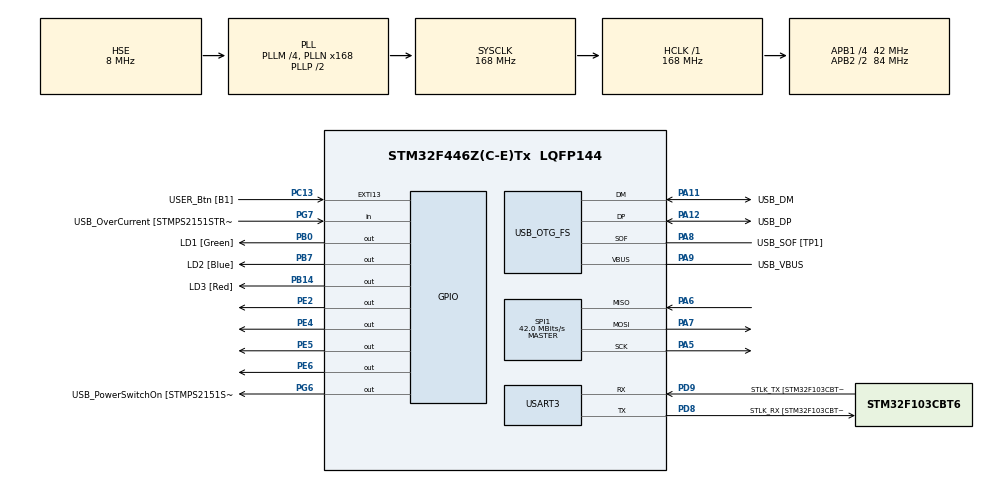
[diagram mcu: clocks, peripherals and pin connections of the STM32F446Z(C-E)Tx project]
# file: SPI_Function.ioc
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Dma.Request0=SPI1_RX
Dma.Request1=SPI1_TX
Dma.SPI1_RX.0.Direction=DMA_PERIPH_TO_MEMORY
Dma.SPI1_RX.0.FIFOMode=DMA_FIFOMODE_DISABLE
Dma.SPI1_RX.0.Instance=DMA2_Stream0
Dma.SPI1_RX.0.MemDataAlignment=DMA_MDATAALIGN_BYTE
Dma.SPI1_RX.0.MemInc=DMA_MINC_ENABLE
Dma.SPI1_RX.0.Mode=DMA_NORMAL
Dma.SPI1_RX.0.PeriphDataAlignment=DMA_PDATAALIGN_BYTE
Dma.SPI1_RX.0.PeriphInc=DMA_PINC_DISABLE
Dma.SPI1_RX.0.Priority=DMA_PRIORITY_LOW
Dma.SPI1_TX.1.Direction=DMA_MEMORY_TO_PERIPH
Dma.SPI1_TX.1.FIFOMode=DMA_FIFOMODE_DISABLE
Dma.SPI1_TX.1.Instance=DMA2_Stream3
Dma.SPI1_TX.1.MemDataAlignment=DMA_MDATAALIGN_BYTE
Dma.SPI1_TX.1.MemInc=DMA_MINC_ENABLE
Dma.SPI1_TX.1.Mode=DMA_NORMAL
Dma.SPI1_TX.1.PeriphDataAlignment=DMA_PDATAALIGN_BYTE
Dma.SPI1_TX.1.PeriphInc=DMA_PINC_DISABLE
Dma.SPI1_TX.1.Priority=DMA_PRIORITY_LOW
Mcu.Family=STM32F4
Mcu.Name=STM32F446Z(C-E)Tx
Mcu.Package=LQFP144
NVIC.DMA2_Stream0_IRQn=true\:0\:0\:false\:false\:true\:false\:true\:true
NVIC.DMA2_Stream3_IRQn=true\:0\:0\:false\:false\:true\:false\:true\:true
NVIC.PriorityGroup=NVIC_PRIORITYGROUP_4
PA10.GPIO_Label=USB_ID
PA10.Signal=USB_OTG_FS_ID
PA11.GPIO_Label=USB_DM
PA11.Mode=Device_Only
PA11.Signal=USB_OTG_FS_DM
PA12.GPIO_Label=USB_DP
PA12.Mode=Device_Only
PA12.Signal=USB_OTG_FS_DP
PA13.GPIO_Label=TMS
PA13.Mode=Serial_Wire
PA13.Signal=SYS_JTMS-SWDIO
PA14.GPIO_Label=TCK
PA14.Mode=Serial_Wire
PA14.Signal=SYS_JTCK-SWCLK
PA5.Mode=Full_Duplex_Master
PA5.Signal=SPI1_SCK
PA6.Mode=Full_Duplex_Master
PA6.Signal=SPI1_MISO
PA7.Mode=Full_Duplex_Master
PA7.Signal=SPI1_MOSI
PA8.GPIO_Label=USB_SOF [TP1]
PA8.Mode=Activate_SOF_FS
PA8.Signal=USB_OTG_FS_SOF
PA9.GPIO_Label=USB_VBUS
PA9.Mode=Activate_VBUS
PA9.Signal=USB_OTG_FS_VBUS
PB0.GPIO_Label=LD1 [Green]
PB0.Signal=GPIO_Output
PB14.GPIO_Label=LD3 [Red]
PB14.Signal=GPIO_Output
PB7.GPIO_Label=LD2 [Blue]
PB7.Signal=GPIO_Output
PC13.GPIO_Label=USER_Btn [B1]
PC13.Signal=GPXTI13
PC14-OSC32_IN.Mode=LSE-External-Oscillator
PC14-OSC32_IN.Signal=RCC_OSC32_IN
PC15-OSC32_OUT.Mode=LSE-External-Oscillator
PC15-OSC32_OUT.Signal=RCC_OSC32_OUT
PD8.GPIO_Label=STLK_RX [STM32F103CBT6_PA3]
PD8.Mode=Asynchronous
PD8.Signal=USART3_TX
PD9.GPIO_Label=STLK_TX [STM32F103CBT6_PA2]
PD9.Mode=Asynchronous
PD9.Signal=USART3_RX
PE2.Signal=GPIO_Output
PE4.Signal=GPIO_Output
PE5.Signal=GPIO_Output
PE6.Signal=GPIO_Output
PG6.GPIO_Label=USB_PowerSwitchOn [STMPS2151STR_EN]
PG6.Signal=GPIO_Output
PG7.GPIO_Label=USB_OverCurrent [STMPS2151STR_FAULT]
PG7.Signal=GPIO_Input
PH0-OSC_IN.GPIO_Label=MCO [STM32F103CBT6_PA8]
PH0-OSC_IN.Mode=HSE-External-Clock-Source
PH0-OSC_IN.Signal=RCC_OSC_IN
PH1-OSC_OUT.Mode=HSE-External-Clock-Source
PH1-OSC_OUT.Signal=RCC_OSC_OUT
ProjectManager.HeapSize=0x200
ProjectManager.StackSize=0x400
ProjectManager.TargetToolchain=STM32CubeIDE
RCC.48MHZClocksFreq_Value=24000000
RCC.AHBFreq_Value=168000000
RCC.APB1CLKDivider=RCC_HCLK_DIV4
RCC.APB1Freq_Value=42000000
RCC.APB1TimFreq_Value=84000000
RCC.APB2CLKDivider=RCC_HCLK_DIV2
RCC.APB2Freq_Value=84000000
RCC.APB2TimFreq_Value=168000000
RCC.CortexFreq_Value=168000000
RCC.HCLKFreq_Value=168000000
RCC.HSE_VALUE=8000000
RCC.HSI_VALUE=16000000
RCC.PLLM=4
RCC.PLLMUL=RCC_PLL_MUL9
RCC.PLLN=168
RCC.PLLQ=7
RCC.PRESCALERUSB=RCC_USBCLKSOURCE_PLL_DIV1_5
RCC.SYSCLKFreq_VALUE=168000000
RCC.SYSCLKSource=RCC_SYSCLKSOURCE_PLLCLK
RCC.SYSCLKSourceVirtual=RCC_SYSCLKSOURCE_PLLCLK
RCC.USBFreq_Value=48000000
RCC.VCOOutputFreq_Value=336000000
SPI1.CalculateBaudRate=42.0 MBits/s
SPI1.Direction=SPI_DIRECTION_2LINES
SPI1.Mode=SPI_MODE_MASTER
SPI1.VirtualType=VM_MASTER
USART3.VirtualMode=VM_ASYNC
USB_OTG_FS.VirtualMode=Device_Only
board=NUCLEO-F446ZE

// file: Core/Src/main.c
/* USER CODE BEGIN Header */
/**
  ******************************************************************************
  * @file           : main.c
  * @brief          : Main program body
  ******************************************************************************
  * @attention
  *
  * Copyright (c) 2026 STMicroelectronics.
  * All rights reserved.
  *
  * This software is licensed under terms that can be found in the LICENSE file
  * in the root directory of this software component.
  * If no LICENSE file comes with this software, it is provided AS-IS.
  *
  ******************************************************************************
  */
/* USER CODE END Header */
#include "main.h"

/* USER CODE BEGIN Includes */
#include <string.h>
#include <stdio.h>
#include <stdarg.h>
/* USER CODE END Includes */

/* USER CODE BEGIN PTD */
typedef struct {
    float position;
    float speed;
} MotorCmd;

typedef enum {
    DEV1 = 1,   // PE2
    DEV2 = 2,   // PE4
    DEV3 = 3,   // PE5
    DEV4 = 4    // PE6
} SpiDevId;
/* USER CODE END PTD */

/* USER CODE BEGIN PD */
#define NUM_SLAVES            4
#define BYTES_PER_MOTOR       4
#define MAX_TOTAL_MOTORS      16
#define MAX_TXRX_BYTES        (MAX_TOTAL_MOTORS * BYTES_PER_MOTOR)

// --- Constants (DO NOT CHANGE) ---
#define P_MIN   -12.57f
#define P_MAX    12.57f
#define V_MIN   -20.0f
#define V_MAX    20.0f
#define KP_MIN    0.0f
#define KP_MAX 5000.0f
#define KD_MIN    0.0f
#define KD_MAX  100.0f
#define T_MIN   -60.0f
#define T_MAX    60.0f

/* USER CODE END PD */

SPI_HandleTypeDef hspi1;
DMA_HandleTypeDef hdma_spi1_rx;
DMA_HandleTypeDef hdma_spi1_tx;

UART_HandleTypeDef huart3;

PCD_HandleTypeDef hpcd_USB_OTG_FS;

/* USER CODE BEGIN PV */
/* Configure how many motors belong to each slave.
   Example:
   {1,1,1,1} => DEV1 gets motor0, DEV2 gets motor1, DEV3 gets motor2, DEV4 gets motor3
   {2,1,0,1} => DEV1 gets motor0-1, DEV2 gets motor2, DEV3 gets none, DEV4 gets motor3
*/
static const uint8_t motors_per_slave[NUM_SLAVES] = {1, 1, 1, 1};

static MotorCmd g_motor_cmd[MAX_TOTAL_MOTORS] = {
    {0.0f, 1.0f},
    {0.0f, 0.0f},
    {0.0f, 3.0f},
    {0.0f, 4.0f}
};
/* USER CODE END PV */

void SystemClock_Config(void);
static void MX_GPIO_Init(void);
static void MX_DMA_Init(void);
static void MX_USART3_UART_Init(void);
static void MX_USB_OTG_FS_PCD_Init(void);
static void MX_SPI1_Init(void);
/* USER CODE BEGIN PFP */
static void uart_printf(const char *fmt, ...);
static void uart_dump_bytes(const char *tag, const uint8_t *buf, int n);
static inline void CS_ALL_HIGH(void);
static inline void CS_SELECT(SpiDevId dev);
static uint16_t get_total_configured_motors(void);
static void pack_one_motor(uint8_t *out, const MotorCmd *cmd);
static uint16_t build_slave_buf(uint8_t slave_index, uint8_t *tx_buf, const MotorCmd *all_motor_cmd);
static HAL_StatusTypeDef spi_send_to_one_slave(SpiDevId dev, uint8_t slave_index, const MotorCmd *all_motor_cmd);
static HAL_StatusTypeDef spi_update_all_slaves_param(const MotorCmd *all_motor_cmd);
static void uart_print_one_motor_rx(uint16_t motor_index, const uint8_t *rx);
/* USER CODE END PFP */

/* USER CODE BEGIN 0 */

static int float_to_uint(float x, float x_min, float x_max, unsigned int bits)
{
    float span = x_max - x_min;
    if (x < x_min) x = x_min;
    else if (x > x_max) x = x_max;
    return (int)((x - x_min) * ((float)((1U << bits) - 1U) / span));
}

static float uint_to_float(int x_int, float x_min, float x_max, int bits)
{
    float span = x_max - x_min;
    float offset = x_min;
    return ((float)x_int) * span / ((float)((1U << bits) - 1U)) + offset;
}

static void uart_printf(const char *fmt, ...)
{
    char buf[128];
    va_list ap;
    va_start(ap, fmt);
    int n = vsnprintf(buf, sizeof(buf), fmt, ap);
    va_end(ap);

    if (n < 0) return;
    if (n >= (int)sizeof(buf)) n = sizeof(buf) - 1;

    HAL_UART_Transmit(&huart3, (uint8_t*)buf, (uint16_t)strlen(buf), 100);
}

static void uart_dump_bytes(const char *tag, const uint8_t *buf, int n)
{
    uart_printf("%s", tag);
    for (int i = 0; i < n; i++) {
        uart_printf(" %02X", buf[i]);
    }
    uart_printf("\r\n");
}

static inline void CS_ALL_HIGH(void)
{
    HAL_GPIO_WritePin(GPIOE, GPIO_PIN_2 | GPIO_PIN_4 | GPIO_PIN_5 | GPIO_PIN_6, GPIO_PIN_SET);
}

static inline void CS_SELECT(SpiDevId dev)
{
    CS_ALL_HIGH();
    switch (dev) {
        case DEV1: HAL_GPIO_WritePin(GPIOE, GPIO_PIN_2, GPIO_PIN_RESET); break;
        case DEV2: HAL_GPIO_WritePin(GPIOE, GPIO_PIN_4, GPIO_PIN_RESET); break;
        case DEV3: HAL_GPIO_WritePin(GPIOE, GPIO_PIN_5, GPIO_PIN_RESET); break;
        case DEV4: HAL_GPIO_WritePin(GPIOE, GPIO_PIN_6, GPIO_PIN_RESET); break;
        default: break;
    }
}

static uint16_t get_total_configured_motors(void)
{
    uint16_t total = 0;
    for (int i = 0; i < NUM_SLAVES; i++) {
        total += motors_per_slave[i];
    }
    return total;
}

static void pack_one_motor(uint8_t *out, const MotorCmd *cmd)
{
    uint16_t pos_u16 = (uint16_t)float_to_uint(cmd->position, P_MIN, P_MAX, 16);
    uint16_t spd_u16 = (uint16_t)float_to_uint(cmd->speed, V_MIN, V_MAX, 16);

    out[0] = (uint8_t)(pos_u16 & 0xFF);        // POS LSB
    out[1] = (uint8_t)((pos_u16 >> 8) & 0xFF); // POS MSB
    out[2] = (uint8_t)(spd_u16 & 0xFF);        // SPD LSB
    out[3] = (uint8_t)((spd_u16 >> 8) & 0xFF); // SPD MSB
}

static void uart_print_one_motor_encoding(uint16_t motor_index, const MotorCmd *cmd)
{
    uint16_t pos_u16 = (uint16_t)float_to_uint(cmd->position, P_MIN, P_MAX, 16);
    uint16_t spd_u16 = (uint16_t)float_to_uint(cmd->speed,    V_MIN, V_MAX, 16);

    uart_printf("[MOTOR %d] float: pos=%.3f spd=%.3f\r\n",
                (int)motor_index,
                cmd->position,
                cmd->speed);

    uart_printf("[MOTOR %d] uint16: pos=%u (0x%04X) spd=%u (0x%04X)\r\n",
                (int)motor_index,
                pos_u16, pos_u16,
                spd_u16, spd_u16);

    uart_printf("[MOTOR %d] bytes: %02X %02X %02X %02X\r\n",
                (int)motor_index,
                (uint8_t)(pos_u16 & 0xFF),
                (uint8_t)((pos_u16 >> 8) & 0xFF),
                (uint8_t)(spd_u16 & 0xFF),
                (uint8_t)((spd_u16 >> 8) & 0xFF));
}

static void uart_print_one_motor_rx(uint16_t motor_index, const uint8_t *rx)
{
    uint16_t pos_u16 = (uint16_t)rx[0] | ((uint16_t)rx[1] << 8);
    uint16_t spd_u16 = (uint16_t)rx[2] | ((uint16_t)rx[3] << 8);

    float pos_f = uint_to_float((int)pos_u16, P_MIN, P_MAX, 16);
    float spd_f = uint_to_float((int)spd_u16, V_MIN, V_MAX, 16);

    uart_printf("[RX MOTOR %d] bytes : %02X %02X %02X %02X\r\n",
                (int)motor_index,
                rx[0], rx[1], rx[2], rx[3]);

    uart_printf("[RX MOTOR %d] uint16: pos=%u (0x%04X) spd=%u (0x%04X)\r\n",
                (int)motor_index,
                pos_u16, pos_u16,
                spd_u16, spd_u16);

    uart_printf("[RX MOTOR %d] float : pos=%.3f spd=%.3f\r\n",
                (int)motor_index,
                pos_f,
                spd_f);
}

static uint16_t build_slave_buf(uint8_t slave_index,
                                uint8_t *tx_buf,
                                const MotorCmd *all_motor_cmd)
{
    uint16_t motor_start = 0;
    uint16_t motor_count = motors_per_slave[slave_index];

    for (int i = 0; i < slave_index; i++) {
        motor_start += motors_per_slave[i];
    }

    for (uint16_t m = 0; m < motor_count; m++) {
        pack_one_motor(&tx_buf[m * BYTES_PER_MOTOR], &all_motor_cmd[motor_start + m]);
    }

    return motor_count * BYTES_PER_MOTOR;
}

static HAL_StatusTypeDef spi_send_to_one_slave(SpiDevId dev,
                                               uint8_t slave_index,
                                               const MotorCmd *all_motor_cmd)
{
    uint8_t tx_buf[MAX_TXRX_BYTES] = {0};
    uint8_t rx_buf[MAX_TXRX_BYTES] = {0};

    if (dev < DEV1 || dev > DEV4) return HAL_ERROR;
    if (slave_index >= NUM_SLAVES) return HAL_ERROR;

    uint16_t tx_len = build_slave_buf(slave_index, tx_buf, all_motor_cmd);
    if (tx_len == 0) {
        uart_printf("[SPI] dev=%d skip (0 motor)\r\n", (int)dev);
        return HAL_OK;
    }

    uart_printf("[SPI] start dev=%d, motors=%d, bytes=%d\r\n",
                (int)dev,
                (int)motors_per_slave[slave_index],
                (int)tx_len);

    uint16_t motor_start = 0;
    for (int i = 0; i < slave_index; i++) {
        motor_start += motors_per_slave[i];
    }

    for (uint16_t m = 0; m < motors_per_slave[slave_index]; m++) {
        uart_print_one_motor_encoding(motor_start + m, &all_motor_cmd[motor_start + m]);
    }

    uart_dump_bytes("[SPI] TX:", tx_buf, tx_len);

    CS_SELECT(dev);
    HAL_StatusTypeDef st = HAL_SPI_TransmitReceive(&hspi1,
                                                   tx_buf,
                                                   rx_buf,
                                                   tx_len,
                                                   HAL_MAX_DELAY);
    CS_ALL_HIGH();

    if (st == HAL_OK) {
        uart_dump_bytes("[SPI] RX:", rx_buf, tx_len);

        uint16_t motor_start = 0;
        for (int i = 0; i < slave_index; i++) {
            motor_start += motors_per_slave[i];
        }

        for (uint16_t m = 0; m < motors_per_slave[slave_index]; m++) {
            uart_print_one_motor_rx(motor_start + m, &rx_buf[m * BYTES_PER_MOTOR]);
        }

        HAL_GPIO_TogglePin(LD1_GPIO_Port, LD1_Pin);
    } else {
        uart_printf("[SPI] dev=%d transmit error\r\n", (int)dev);
        HAL_GPIO_TogglePin(LD3_GPIO_Port, LD3_Pin);
    }

    return st;
}

static HAL_StatusTypeDef spi_update_all_slaves_param(const MotorCmd *all_motor_cmd)
{
    HAL_StatusTypeDef st;

    st = spi_send_to_one_slave(DEV1, 0, all_motor_cmd);
    if (st != HAL_OK) return st;

    st = spi_send_to_one_slave(DEV2, 1, all_motor_cmd);
    if (st != HAL_OK) return st;

    st = spi_send_to_one_slave(DEV3, 2, all_motor_cmd);
    if (st != HAL_OK) return st;

    st = spi_send_to_one_slave(DEV4, 3, all_motor_cmd);
    if (st != HAL_OK) return st;

    return HAL_OK;
}
/* USER CODE END 0 */

int main(void)
{

  /* MCU Configuration--------------------------------------------------------*/

  /* Reset of all peripherals, Initializes the Flash interface and the Systick. */
  HAL_Init();

  /* Configure the system clock */
  SystemClock_Config();

  /* Initialize all configured peripherals */
  MX_GPIO_Init();
  MX_DMA_Init();
  MX_USART3_UART_Init();
  MX_USB_OTG_FS_PCD_Init();
  MX_SPI1_Init();
  /* USER CODE BEGIN 2 */
  uart_printf("\r\n=== SPI parameterized motor demo ===\r\n");
  uart_printf("Configured motors total = %d\r\n", (int)get_total_configured_motors());
  float dir = 1.0;
  float step = 0.1;
  /* USER CODE END 2 */

  /* Infinite loop */
  while (1)
  {

    /* USER CODE BEGIN 3 */
    g_motor_cmd[0].position += step * dir;
    g_motor_cmd[0].speed    = 5.0f;

    if((g_motor_cmd[0].position >= 12.0f)||(g_motor_cmd[0].position <= -12.0f)){
    	dir *= -1.0f;
    }

//    g_motor_cmd[1].position += 0.00f;
//    g_motor_cmd[1].speed     = 0.0f;
//
//    g_motor_cmd[2].position += 0.30f;
//    g_motor_cmd[2].speed     = 3.0f;
//
//    g_motor_cmd[3].position += 0.40f;
//    g_motor_cmd[3].speed     = 4.0f;

    uart_printf("[CMD] M0 pos=%.2f spd=%.2f\r\n", g_motor_cmd[0].position, g_motor_cmd[0].speed);
//    uart_printf("[CMD] M1 pos=%.2f spd=%.2f\r\n", g_motor_cmd[1].position, g_motor_cmd[1].speed);
//    uart_printf("[CMD] M2 pos=%.2f spd=%.2f\r\n", g_motor_cmd[2].position, g_motor_cmd[2].speed);
//    uart_printf("[CMD] M3 pos=%.2f spd=%.2f\r\n", g_motor_cmd[3].position, g_motor_cmd[3].speed);

    spi_send_to_one_slave(DEV1, 0, g_motor_cmd);

    HAL_Delay(1);
  }
  /* USER CODE END 3 */
}

void SystemClock_Config(void)
{
  RCC_OscInitTypeDef RCC_OscInitStruct = {0};
  RCC_ClkInitTypeDef RCC_ClkInitStruct = {0};

  /** Configure the main internal regulator output voltage
  */
  __HAL_RCC_PWR_CLK_ENABLE();
  __HAL_PWR_VOLTAGESCALING_CONFIG(PWR_REGULATOR_VOLTAGE_SCALE1);

  /** Initializes the RCC Oscillators according to the specified parameters
  * in the RCC_OscInitTypeDef structure.
  */
  RCC_OscInitStruct.OscillatorType = RCC_OSCILLATORTYPE_HSE;
  RCC_OscInitStruct.HSEState = RCC_HSE_BYPASS;
  RCC_OscInitStruct.PLL.PLLState = RCC_PLL_ON;
  RCC_OscInitStruct.PLL.PLLSource = RCC_PLLSOURCE_HSE;
  RCC_OscInitStruct.PLL.PLLM = 4;
  RCC_OscInitStruct.PLL.PLLN = 168;
  RCC_OscInitStruct.PLL.PLLP = RCC_PLLP_DIV2;
  RCC_OscInitStruct.PLL.PLLQ = 7;
  RCC_OscInitStruct.PLL.PLLR = 2;
  if (HAL_RCC_OscConfig(&RCC_OscInitStruct) != HAL_OK)
  {
    Error_Handler();
  }

  /** Initializes the CPU, AHB and APB buses clocks
  */
  RCC_ClkInitStruct.ClockType = RCC_CLOCKTYPE_HCLK|RCC_CLOCKTYPE_SYSCLK
                              |RCC_CLOCKTYPE_PCLK1|RCC_CLOCKTYPE_PCLK2;
  RCC_ClkInitStruct.SYSCLKSource = RCC_SYSCLKSOURCE_PLLCLK;
  RCC_ClkInitStruct.AHBCLKDivider = RCC_SYSCLK_DIV1;
  RCC_ClkInitStruct.APB1CLKDivider = RCC_HCLK_DIV4;
  RCC_ClkInitStruct.APB2CLKDivider = RCC_HCLK_DIV2;

  if (HAL_RCC_ClockConfig(&RCC_ClkInitStruct, FLASH_LATENCY_5) != HAL_OK)
  {
    Error_Handler();
  }
}

static void MX_SPI1_Init(void)
{

  /* SPI1 parameter configuration*/
  hspi1.Instance = SPI1;
  hspi1.Init.Mode = SPI_MODE_MASTER;
  hspi1.Init.Direction = SPI_DIRECTION_2LINES;
  hspi1.Init.DataSize = SPI_DATASIZE_8BIT;
  hspi1.Init.CLKPolarity = SPI_POLARITY_LOW;
  hspi1.Init.CLKPhase = SPI_PHASE_1EDGE;
  hspi1.Init.NSS = SPI_NSS_SOFT;
  hspi1.Init.BaudRatePrescaler = SPI_BAUDRATEPRESCALER_64;
  hspi1.Init.FirstBit = SPI_FIRSTBIT_MSB;
  hspi1.Init.TIMode = SPI_TIMODE_DISABLE;
  hspi1.Init.CRCCalculation = SPI_CRCCALCULATION_DISABLE;
  hspi1.Init.CRCPolynomial = 10;
  if (HAL_SPI_Init(&hspi1) != HAL_OK)
  {
    Error_Handler();
  }

}

static void MX_USART3_UART_Init(void)
{

  huart3.Instance = USART3;
  huart3.Init.BaudRate = 115200;
  huart3.Init.WordLength = UART_WORDLENGTH_8B;
  huart3.Init.StopBits = UART_STOPBITS_1;
  huart3.Init.Parity = UART_PARITY_NONE;
  huart3.Init.Mode = UART_MODE_TX_RX;
  huart3.Init.HwFlowCtl = UART_HWCONTROL_NONE;
  huart3.Init.OverSampling = UART_OVERSAMPLING_16;
  if (HAL_UART_Init(&huart3) != HAL_OK)
  {
    Error_Handler();
  }

}

static void MX_USB_OTG_FS_PCD_Init(void)
{

  hpcd_USB_OTG_FS.Instance = USB_OTG_FS;
  hpcd_USB_OTG_FS.Init.dev_endpoints = 6;
  hpcd_USB_OTG_FS.Init.speed = PCD_SPEED_FULL;
  hpcd_USB_OTG_FS.Init.dma_enable = DISABLE;
  hpcd_USB_OTG_FS.Init.phy_itface = PCD_PHY_EMBEDDED;
  hpcd_USB_OTG_FS.Init.Sof_enable = ENABLE;
  hpcd_USB_OTG_FS.Init.low_power_enable = DISABLE;
  hpcd_USB_OTG_FS.Init.lpm_enable = DISABLE;
  hpcd_USB_OTG_FS.Init.vbus_sensing_enable = ENABLE;
  hpcd_USB_OTG_FS.Init.use_dedicated_ep1 = DISABLE;
  if (HAL_PCD_Init(&hpcd_USB_OTG_FS) != HAL_OK)
  {
    Error_Handler();
  }

}

static void MX_DMA_Init(void)
{

  /* DMA controller clock enable */
  __HAL_RCC_DMA2_CLK_ENABLE();

  /* DMA interrupt init */
  /* DMA2_Stream0_IRQn interrupt configuration */
  HAL_NVIC_SetPriority(DMA2_Stream0_IRQn, 0, 0);
  HAL_NVIC_EnableIRQ(DMA2_Stream0_IRQn);
  /* DMA2_Stream3_IRQn interrupt configuration */
  HAL_NVIC_SetPriority(DMA2_Stream3_IRQn, 0, 0);
  HAL_NVIC_EnableIRQ(DMA2_Stream3_IRQn);

}

static void MX_GPIO_Init(void)
{
  GPIO_InitTypeDef GPIO_InitStruct = {0};

  /* GPIO Ports Clock Enable */
  __HAL_RCC_GPIOE_CLK_ENABLE();
  __HAL_RCC_GPIOC_CLK_ENABLE();
  __HAL_RCC_GPIOH_CLK_ENABLE();
  __HAL_RCC_GPIOA_CLK_ENABLE();
  __HAL_RCC_GPIOB_CLK_ENABLE();
  __HAL_RCC_GPIOD_CLK_ENABLE();
  __HAL_RCC_GPIOG_CLK_ENABLE();

  /*Configure GPIO pin Output Level */
  HAL_GPIO_WritePin(GPIOE, GPIO_PIN_2|GPIO_PIN_4|GPIO_PIN_5|GPIO_PIN_6, GPIO_PIN_RESET);

  /*Configure GPIO pin Output Level */
  HAL_GPIO_WritePin(GPIOB, LD1_Pin|LD3_Pin|LD2_Pin, GPIO_PIN_RESET);

  /*Configure GPIO pin Output Level */
  HAL_GPIO_WritePin(USB_PowerSwitchOn_GPIO_Port, USB_PowerSwitchOn_Pin, GPIO_PIN_RESET);

  /*Configure GPIO pins : PE2 PE4 PE5 PE6 */
  GPIO_InitStruct.Pin = GPIO_PIN_2|GPIO_PIN_4|GPIO_PIN_5|GPIO_PIN_6;
  GPIO_InitStruct.Mode = GPIO_MODE_OUTPUT_PP;
  GPIO_InitStruct.Pull = GPIO_NOPULL;
  GPIO_InitStruct.Speed = GPIO_SPEED_FREQ_LOW;
  HAL_GPIO_Init(GPIOE, &GPIO_InitStruct);

  /*Configure GPIO pin : USER_Btn_Pin */
  GPIO_InitStruct.Pin = USER_Btn_Pin;
  GPIO_InitStruct.Mode = GPIO_MODE_IT_RISING;
  GPIO_InitStruct.Pull = GPIO_NOPULL;
  HAL_GPIO_Init(USER_Btn_GPIO_Port, &GPIO_InitStruct);

  /*Configure GPIO pins : LD1_Pin LD3_Pin LD2_Pin */
  GPIO_InitStruct.Pin = LD1_Pin|LD3_Pin|LD2_Pin;
  GPIO_InitStruct.Mode = GPIO_MODE_OUTPUT_PP;
  GPIO_InitStruct.Pull = GPIO_NOPULL;
  GPIO_InitStruct.Speed = GPIO_SPEED_FREQ_LOW;
  HAL_GPIO_Init(GPIOB, &GPIO_InitStruct);

  /*Configure GPIO pin : USB_PowerSwitchOn_Pin */
  GPIO_InitStruct.Pin = USB_PowerSwitchOn_Pin;
  GPIO_InitStruct.Mode = GPIO_MODE_OUTPUT_PP;
  GPIO_InitStruct.Pull = GPIO_NOPULL;
  GPIO_InitStruct.Speed = GPIO_SPEED_FREQ_LOW;
  HAL_GPIO_Init(USB_PowerSwitchOn_GPIO_Port, &GPIO_InitStruct);

  /*Configure GPIO pin : USB_OverCurrent_Pin */
  GPIO_InitStruct.Pin = USB_OverCurrent_Pin;
  GPIO_InitStruct.Mode = GPIO_MODE_INPUT;
  GPIO_InitStruct.Pull = GPIO_NOPULL;
  HAL_GPIO_Init(USB_OverCurrent_GPIO_Port, &GPIO_InitStruct);

}

void Error_Handler(void)
{
  __disable_irq();
  while (1)
  {
  }
}
